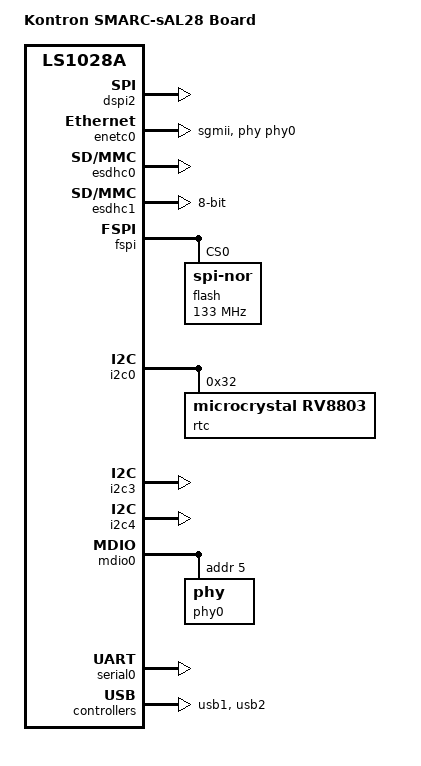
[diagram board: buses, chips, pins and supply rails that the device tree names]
// SPDX-License-Identifier: GPL-2.0+
/*
 * Kontron SMARC-sAL28 device tree source (base version)
 */

/dts-v1/;

#include "fsl-ls1028a.dtsi"

/ {
	u-boot,dm-pre-reloc;
	model = "Kontron SMARC-sAL28 Board";
	compatible = "kontron,sl28", "fsl,ls1028a";

	aliases {
		serial0 = &serial0;
		serial1 = &serial1;
		spi0 = &fspi;
		spi1 = &dspi2;
		mmc0 = &esdhc0;
		mmc1 = &esdhc1;
		i2c0 = &i2c0;
		i2c1 = &i2c3;
		i2c2 = &i2c4;
		rtc0 = &rtc;
		ethernet0 = &enetc0;
		ethernet1 = &enetc1;
		ethernet2 = &enetc2;
		ethernet3 = &enetc6;
	};

	chosen {
		stdout-path = &serial0;
	};
};

&dspi2 {
	u-boot,dm-pre-reloc;
	status = "okay";
};

&enetc0 {
	status = "okay";
	phy-mode = "sgmii";
	phy-handle = <&phy0>;
};

&enetc1 {
	status = "disabled";
};

&enetc2 {
	status = "disabled";
};

&enetc6 {
	status = "disabled";
};

&esdhc0 {
	u-boot,dm-pre-reloc;
	status = "okay";
};

&esdhc1 {
	u-boot,dm-pre-reloc;
	status = "okay";
	bus-width = <8>;
};

&fspi {
	u-boot,dm-pre-reloc;
	status = "okay";

	flash@0 {
		u-boot,dm-pre-reloc;
		#address-cells = <1>;
		#size-cells = <1>;
		compatible = "jedec,spi-nor";
		m25p,fast-read;
		spi-max-frequency = <133000000>;
		reg = <0>;
		spi-rx-bus-width = <2>;
		spi-tx-bus-width = <1>;
	 };
};

&i2c0 {
	status = "okay";

	rtc: rtc@32 {
		compatible = "microcrystal,rv8803";
		reg = <0x32>;
	};
};

&i2c3 {
	status = "okay";
};

&i2c4 {
	status = "okay";
};

&mdio0 {
	status = "okay";

	phy0: phy@5 {
		reg = <5>;
	};
};

&serial0 {
	u-boot,dm-pre-reloc;
	status = "okay";
};

&sysclk {
	u-boot,dm-pre-reloc;
};

&usb1 {
	status = "okay";
};

&usb2 {
	status = "okay";
};
